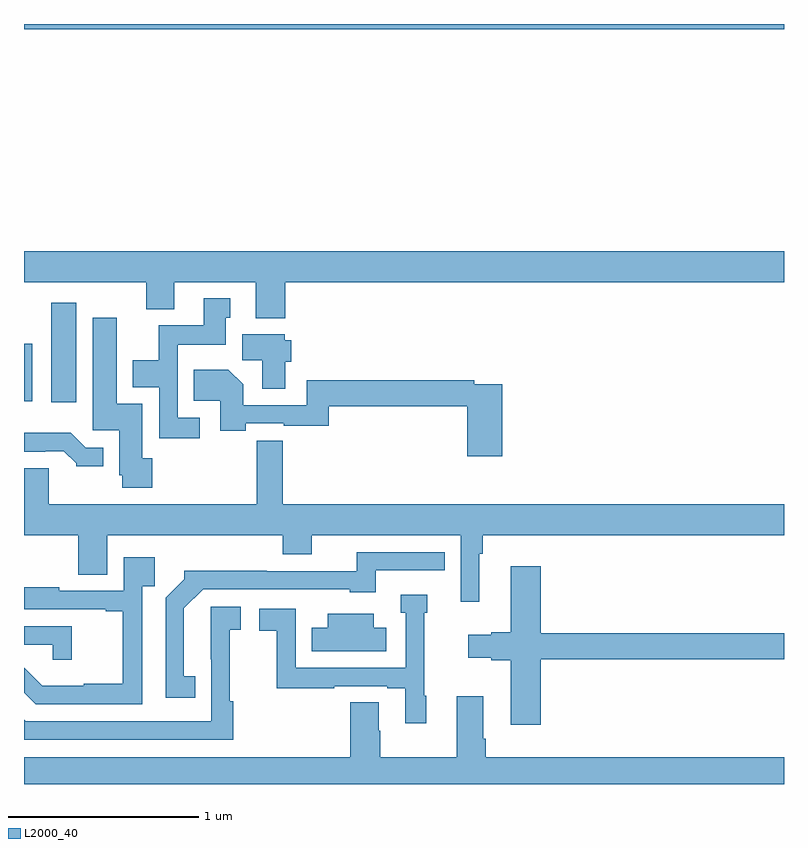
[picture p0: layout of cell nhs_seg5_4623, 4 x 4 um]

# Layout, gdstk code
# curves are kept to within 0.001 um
import gdstk
lib = gdstk.Library(unit=1e-6, precision=1e-09)
def R(c, l, rs):  # rectangles x0, y0, x1, y1
    for r in rs: c.add(gdstk.rectangle(r[:2], r[2:], *l))
def P(c, l, *ps):  # polygons
    for p in ps: c.add(gdstk.Polygon(p, *l))
L2000_40 = (2000, 40)

nhs_seg5_4623 = lib.new_cell('nhs_seg5_4623')
R(nhs_seg5_4623, L2000_40, [(383.144,842.808,383.275,843.331), (383,842.813,383.044,843.115), (383,844.772,387,844.799)])
P(nhs_seg5_4623, L2000_40, [(384.374,843.44),(387,843.44),(387,843.604),(383,843.604),(383,843.44),(383.644,843.44),(383.644,843.299),(383.791,843.299),(383.791,843.44),(384.221,843.44),(384.221,843.251),(384.374,843.251)],
  [(383.926,842.727),(383.808,842.727),(383.808,843.11),(384.061,843.11),(384.061,843.252),(384.085,843.252),(384.085,843.355),(383.945,843.355),(383.945,843.214),(383.71,843.214),(383.71,843.028),(383.573,843.028),(383.573,842.888),(383.712,842.888),(383.712,842.619),(383.926,842.619)],
  [(383.675,842.514),(383.623,842.514),(383.623,842.8),(383.488,842.8),(383.488,843.253),(383.363,843.253),(383.363,842.661),(383.501,842.661),(383.501,842.424),(383.518,842.424),(383.518,842.358),(383.675,842.358)],
  [(384.376,843.021),(384.407,843.021),(384.407,843.135),(384.372,843.135),(384.372,843.166),(384.149,843.166),(384.149,843.028),(384.254,843.028),(384.254,842.88),(384.376,842.88)],
  [(385.517,842.904),(385.37,842.904),(385.37,842.924),(384.489,842.924),(384.489,842.793),(384.154,842.793),(384.154,842.902),(384.076,842.98),(383.893,842.98),(383.893,842.816),(384.032,842.816),(384.032,842.659),(384.166,842.659),(384.166,842.697),(384.366,842.697),(384.366,842.685),(384.605,842.685),(384.605,842.788),(385.334,842.788),(385.334,842.523),(385.517,842.523)],
  [(383.416,842.568),(383.325,842.568),(383.247,842.647),(383,842.647),(383,842.547),(383.111,842.547),(383.111,842.55),(383.21,842.55),(383.274,842.486),(383.274,842.471),(383.416,842.471)],
  [(385.396,842.012),(385.415,842.012),(385.415,842.108),(387,842.108),(387,842.272),(384.362,842.272),(384.362,842.605),(384.226,842.605),(384.226,842.272),(383.131,842.272),(383.131,842.462),(383,842.462),(383,842.108),(383.285,842.108),(383.285,841.9),(383.437,841.9),(383.437,842.108),(384.362,842.108),(384.362,842.009),(384.514,842.009),(384.514,842.108),(385.299,842.108),(385.299,841.758),(385.396,841.758)],
  [(383.9,841.367),(383.842,841.367),(383.842,841.723),(383.943,841.824),(384.714,841.824),(384.714,841.808),(384.85,841.808),(384.85,841.923),(385.214,841.923),(385.214,842.019),(384.751,842.019),(384.751,841.92),(384.278,841.92),(384.278,841.922),(383.844,841.922),(383.844,841.877),(383.745,841.778),(383.745,841.254),(383.9,841.254)],
  [(383.622,841.841),(383.687,841.841),(383.687,841.993),(383.526,841.993),(383.526,841.815),(383.185,841.815),(383.185,841.834),(383,841.834),(383,841.719),(383.429,841.719),(383.429,841.707),(383.521,841.707),(383.521,841.327),(383.315,841.327),(383.315,841.315),(383.096,841.315),(383,841.411),(383,841.279),(383.061,841.218),(383.622,841.218)],
  [(385.721,841.456),(387,841.456),(387,841.592),(385.721,841.592),(385.721,841.945),(385.562,841.945),(385.562,841.598),(385.458,841.598),(385.458,841.585),(385.338,841.585),(385.338,841.463),(385.458,841.463),(385.458,841.451),(385.562,841.451),(385.562,841.11),(385.721,841.11)],
  [(385.117,841.263),(385.107,841.263),(385.107,841.701),(385.123,841.701),(385.123,841.795),(384.983,841.795),(384.983,841.701),(385.008,841.701),(385.008,841.41),(384.429,841.41),(384.429,841.722),(384.237,841.722),(384.237,841.606),(384.331,841.606),(384.331,841.302),(384.632,841.302),(384.632,841.314),(384.911,841.314),(384.911,841.302),(385.007,841.302),(385.007,841.119),(385.117,841.119)],
  [(384.101,841.235),(384.084,841.235),(384.084,841.611),(384.142,841.611),(384.142,841.732),(383.984,841.732),(383.985,841.128),(383.01,841.128),(383,841.138),(383,841.032),(384.101,841.032)],
  [(384.907,841.621),(384.841,841.621),(384.841,841.696),(384.599,841.696),(384.599,841.621),(384.514,841.621),(384.514,841.499),(384.907,841.499)],
  [(383.252,841.629),(383,841.629),(383,841.533),(383.151,841.533),(383.151,841.452),(383.252,841.452)],
  [(387,840.94),(385.43,840.94),(385.43,841.036),(385.417,841.036),(385.417,841.261),(385.277,841.261),(385.277,840.94),(384.876,840.94),(384.876,841.079),(384.868,841.079),(384.868,841.229),(384.716,841.229),(384.716,840.94),(383,840.94),(383,840.799),(387,840.799)])

lib.write_gds('nhs_seg5_4623.gds')
